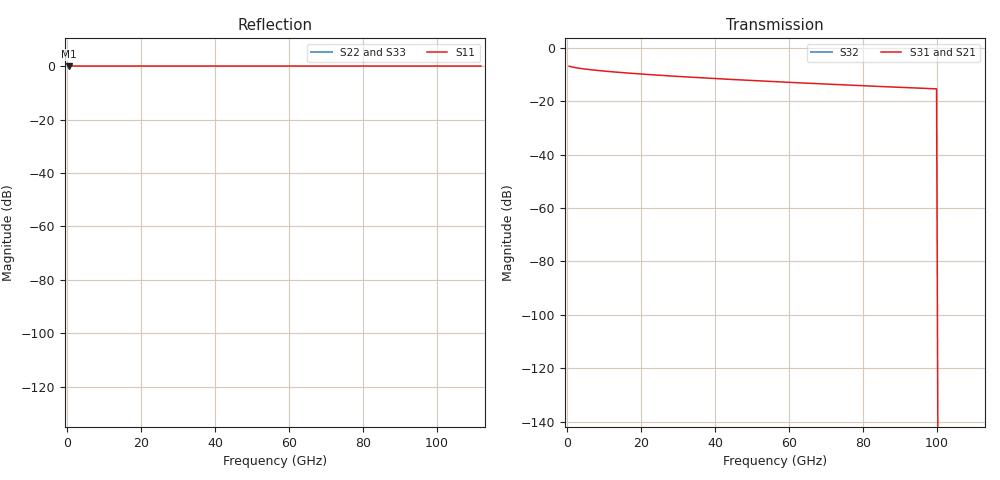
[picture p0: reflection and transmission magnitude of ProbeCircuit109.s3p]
! File created by SignalIntegrity v1.2.1: Signal and Power Integrity Tools
! https://github.com/TeledyneLeCroy/SignalIntegrity
# MHz S MA R 50.0
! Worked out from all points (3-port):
!   224 points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, 500 MHz to 112 GHz, reference 50 ohm
!   strongest paths, dB at 500 MHz, 28.5 GHz, 56.5 GHz, 84.5 GHz, 112 GHz:
!     S31: -6.9, -10.6, -12.7, -14.5, -
!     S21: -6.9, -10.6, -12.7, -14.5, -
!     S32: -, -, -, -, -
!   lowest |S11| = 0.0 dB at 500 MHz (marker M1)
!   |S11| at or under -10 dB: nowhere
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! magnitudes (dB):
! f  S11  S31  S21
! 500 MHz  0.0  -6.9  -6.9
! 2.5 GHz  0.0  -7.5  -7.5
! 6 GHz  0.0  -8.2  -8.2
! 10.5 GHz  0.0  -8.8  -8.8
! 17 GHz  0.0  -9.5  -9.5
! 33 GHz  0.0  -11.0  -11.0
! 56.5 GHz  0.0  -12.7  -12.7
! 100 GHz  0.0  -15.4  -15.4
! 100.5 GHz  0.0  -  -
! 112 GHz  0.0  -  -
